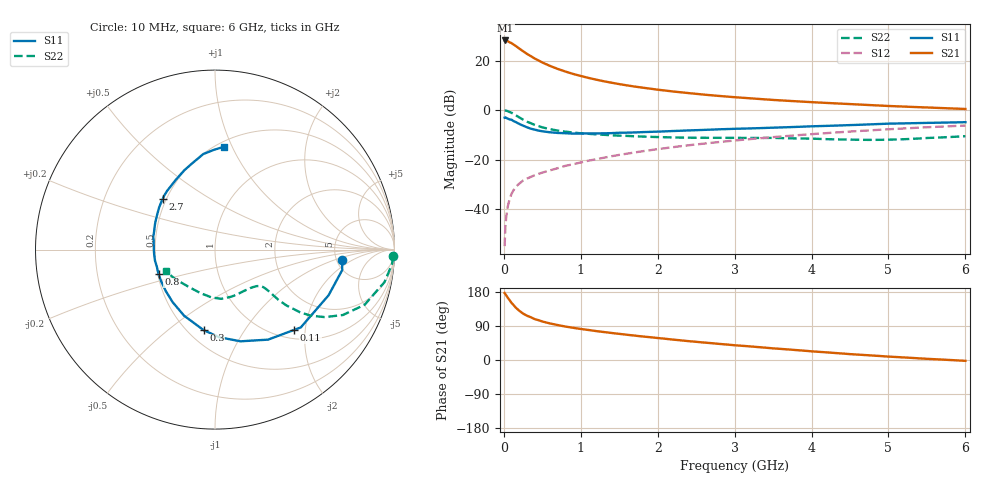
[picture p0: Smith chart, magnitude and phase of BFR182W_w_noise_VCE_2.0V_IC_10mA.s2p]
! Infineon Technologies  Discrete & RF Semiconductors
! BFR182W
! VCE =  2.0 V,  IC =  10 mA
! Common Emitter S-Parameters:  Jan 2017
# GHz  S  MA  R  50
!  f  S11  S21  S12  S22
! GHz  MAG  ANG  MAG  ANG  MAG  ANG  MAG  ANG
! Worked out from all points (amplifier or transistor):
!   77 points, 10 MHz to 6 GHz, reference 50 ohm
!   highest |S21| = 28.2 dB at 20 MHz (marker M1)
!   |S21| within 3 dB of that: start of sweep to 188.8 MHz
!   unconditionally stable (mu >= 1): 1.003 GHz to 2.694 GHz
!   at 130 MHz: K = 0.29, MSG = 29.3 dB, |S12| = -32.1 dB
!   at 2.2 GHz: K = 1.03, MAG = 10.2 dB, |S12| = -14.9 dB
!   at 6 GHz: K = 0.87, MSG = 3.3 dB, |S12| = -6.2 dB
!   lowest NFmin = 1.07 dB at 450 MHz
!   S11 on the Smith chart (normalised r, x): 10 MHz: 5.58, -1.28; 110 MHz: 1.18, -1.75; 300 MHz: 0.60, -0.67; 800 MHz: 0.51, -0.16; 2.7 GHz: 0.48, +0.33; 6 GHz: 0.54, +0.93
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0.01  0.7093 -4.6  25.53 176.8  0.0018 92.0  0.9936 -2.1
0.02  0.7182 -9.1  25.67 173.8  0.0044 89.4  0.9899 -4.6
0.05  0.6818 -22.0  24.8 164.5  0.0112 81.6  0.9615 -10.9
0.1  0.6453 -42.2  22.71 150.7  0.0205 72.9  0.8888 -20.2
0.11  0.6284 -45.4  22.12 148.6  0.0219 70.9  0.8701 -21.5
0.15  0.5822 -59.5  20.11 139.2  0.0279 65.0  0.8002 -27.1
0.2  0.5305 -74.4  17.65 130.0  0.0329 62.7  0.7178 -31.6
0.25  0.4888 -87.3  15.57 122.5  0.038 59.7  0.648 -34.6
0.3  0.4532 -98.0  13.76 116.9  0.0416 58.4  0.589 -36.4
0.4  0.4065 -115.1  11.11 108.0  0.0486 58.4  0.5072 -38.0
0.5  0.3764 -128.7  9.213 101.6  0.0551 59.2  0.4519 -38.4
0.6  0.3587 -139.7  7.865 96.5  0.0611 59.6  0.415 -38.1
0.8  0.3433 -156.3  6.053 88.3  0.0754 62.3  0.3699 -37.7
0.9  0.3377 -163.4  5.413 85.0  0.0811 62.6  0.3552 -37.7
1.1  0.3399 -174.9  4.501 79.2  0.0959 63.8  0.3343 -38.2
1.5  0.3514 168.2  3.373 69.0  0.1255 64.6  0.3071 -41.6
2.1  0.3749 149.6  2.496 56.0  0.1718 62.9  0.2849 -51.7
2.7  0.4065 135.6  2.006 44.4  0.22 59.8  0.2777 -65.1
3.1  0.4256 127.3  1.788 37.4  0.253 57.0  0.2764 -73.9
4.1  0.4786 109.7  1.431 21.5  0.3374 49.0  0.2638 -96.8
5.1  0.5397 95.7  1.203 7.9  0.4208 39.6  0.2568 -129.7
6  0.5741 85.2  1.061 -2.2  0.4914 30.4  0.2995 -156.2
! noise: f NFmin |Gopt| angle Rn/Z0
0.45  1.07  0.08  50  0.15
0.9  1.15  0.07  86  0.15
1.9  1.65  0.19  -164  0.13
2.4  1.9  0.18  -156  0.2
